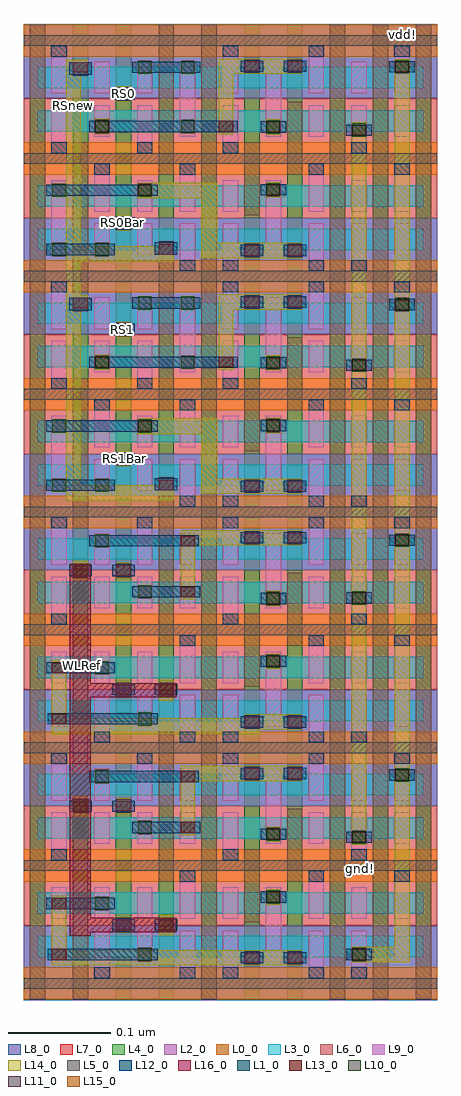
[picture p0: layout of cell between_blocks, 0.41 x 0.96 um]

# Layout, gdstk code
from math import pi, radians
import gdstk
lib = gdstk.Library(unit=1e-6, precision=5e-10)
def R(c, l, rs):  # rectangles x0, y0, x1, y1
    for r in rs: c.add(gdstk.rectangle(r[:2], r[2:], *l))
def A(c, l, x, y, w, h, nx, ny, dx, dy):  # array of equal rectangles
    R(c, l, [(x+i*dx, y+j*dy, x+i*dx+w, y+j*dy+h) for i in range(nx) for j in range(ny)])
L0_0 = (0, 0)
L1_0 = (1, 0)
L2_0 = (2, 0)
L3_0 = (3, 0)
L4_0 = (4, 0)
L5_0 = (5, 0)
L6_0 = (6, 0)
L7_0 = (7, 0)
L8_0 = (8, 0)
L9_0 = (9, 0)
L10_0 = (10, 0)
L11_0 = (11, 0)
L12_0 = (12, 0)
L13_0 = (13, 0)
L14_0 = (14, 0)
L15_0 = (15, 0)
L16_0 = (16, 0)

bpr_m0a = lib.new_cell('BPR_M0A')
R(bpr_m0a, L0_0, [(-0.021,-0.0055,0.021,0.026)])
R(bpr_m0a, L1_0, [(-0.0075,-0.0055,0.0075,0.005)])
R(bpr_m0a, L9_0, [(-0.0075,-0.0165,0.0075,0.005)])

nmos = lib.new_cell('nmos')
R(nmos, L3_0, [(-0.042,-0.0105,0.042,0.0105)])
A(nmos, L4_0, -0.0495, -0.032, 0.015, 0.064, 3, 1, 0.042, 0)
R(nmos, L7_0, [(-0.0555,-0.021,0.0555,0.0205)])
R(nmos, L9_0, [(-0.0285,-0.0155,-0.0135,0.0155), (0.0135,-0.0155,0.0285,0.0155)])

pmos = lib.new_cell('pmos')
R(pmos, L2_0, [(-0.042,-0.0205,0.042,0.0205)])
R(pmos, L3_0, [(-0.042,-0.0105,0.042,0.0105)])
A(pmos, L4_0, -0.0495, -0.032, 0.015, 0.064, 3, 1, 0.042, 0)
R(pmos, L8_0, [(-0.0555,-0.0205,0.0555,0.0205)])
R(pmos, L9_0, [(-0.0285,-0.0155,-0.0135,0.0155), (0.0135,-0.0155,0.0285,0.0155)])

m0b_m1 = lib.new_cell('M0B_M1')
R(m0b_m1, L12_0, [(-0.011,-0.005,0.011,0.005)])
R(m0b_m1, L13_0, [(-0.007,-0.005,0.007,0.005)])
R(m0b_m1, L14_0, [(-0.007,-0.0075,0.007,0.0075)])

m0a_m0b = lib.new_cell('M0A_M0B')
R(m0a_m0b, L9_0, [(-0.0075,-0.0055,0.0075,0.0055)])
R(m0a_m0b, L10_0, [(-0.0065,-0.0065,0.0065,0.0065)])
R(m0a_m0b, L12_0, [(-0.0125,-0.0055,0.0125,0.0055)])

gate_m0b = lib.new_cell('GATE_M0B')
R(gate_m0b, L4_0, [(-0.0075,-0.0115,0.0075,0.0115)])
R(gate_m0b, L11_0, [(-0.0075,-0.0065,0.0075,0.0065)])
R(gate_m0b, L12_0, [(-0.011,-0.0055,0.011,0.0055)])

nor = lib.new_cell('nor')
R(nor, L0_0, [(0.157,0.0005,0.352,0.032), (0.186,0.009,0.1965,0.016), (0.157,0.116,0.352,0.1475), (0.1885,0.1335,0.1945,0.1415)])
R(nor, L2_0, [(0.157,0.075,0.352,0.1475)])
A(nor, L4_0, 0.163, 0.0005, 0.015, 0.147, 5, 1, 0.042, 0)
R(nor, L5_0, [(0.157,0.011,0.352,0.0215), (0.157,0.1265,0.352,0.137)])
R(nor, L6_0, [(0.163,0.0005,0.178,0.1475), (0.289,0.0005,0.304,0.1475), (0.331,0.0005,0.346,0.1475)])
R(nor, L7_0, [(0.157,0.0005,0.352,0.075)])
R(nor, L8_0, [(0.157,0.075,0.352,0.148)])
R(nor, L9_0, [(0.31,0.0685,0.325,0.08)])
R(nor, L12_0, [(0.221,0.042,0.325,0.053), (0.263,0.1,0.33,0.111)])
R(nor, L14_0, [(0.2315,0.0455,0.2355,0.0495), (0.253,0.0775,0.2565,0.0805), (0.209,0.1035,0.2155,0.1085)])
nor.add(gdstk.Reference(bpr_m0a, (0.1915,0.1215)))
nor.add(gdstk.Reference(bpr_m0a, (0.2755,0.0265), rotation=pi))
nor.add(gdstk.Reference(bpr_m0a, (0.1915,0.0265), rotation=pi))
nor.add(gdstk.Reference(nmos, (0.2965,0.053)))
nor.add(gdstk.Reference(nmos, (0.2545,0.053)))
nor.add(gdstk.Reference(nmos, (0.2125,0.053)))
nor.add(gdstk.Reference(pmos, (0.2965,0.0955)))
nor.add(gdstk.Reference(pmos, (0.2545,0.0955)))
nor.add(gdstk.Reference(pmos, (0.2125,0.0955)))
nor.add(gdstk.Reference(m0b_m1, (0.2545,0.0795)))
nor.add(gdstk.Reference(m0b_m1, (0.2125,0.1055)))
nor.add(gdstk.Reference(m0b_m1, (0.2335,0.0475)))
nor.add(gdstk.Reference(m0a_m0b, (0.3175,0.0475)))
nor.add(gdstk.Reference(m0a_m0b, (0.3175,0.1055)))
nor.add(gdstk.Reference(m0a_m0b, (0.2755,0.1055)))
nor.add(gdstk.Reference(m0a_m0b, (0.2335,0.0475)))
nor.add(gdstk.Reference(gate_m0b, (0.2545,0.0795)))
nor.add(gdstk.Reference(gate_m0b, (0.2125,0.104)))
nor.add(gdstk.Label('Y', (0.2335,0.0475), layer=14, texttype=0))
nor.add(gdstk.Label('B', (0.2545,0.079), layer=14, texttype=0))
nor.add(gdstk.Label('A', (0.212,0.106), layer=14, texttype=0))
nor.add(gdstk.Label('gnd!', (0.191,0.0125), layer=0, texttype=0))
nor.add(gdstk.Label('vdd!', (0.1915,0.1375), layer=0, texttype=0))

inv = lib.new_cell('inv')
R(inv, L0_0, [(0,0,0.153,0.0315), (0.025,0.006,0.0415,0.016), (0,0.1155,0.153,0.147), (0.11,0.131,0.125,0.1425)])
R(inv, L2_0, [(0,0.0745,0.153,0.147)])
A(inv, L4_0, 0.006, 0, 0.015, 0.147, 4, 1, 0.042, 0)
R(inv, L5_0, [(0,0.0105,0.153,0.021), (0,0.126,0.153,0.1365)])
R(inv, L6_0, [(0.006,0,0.021,0.147), (0.09,0,0.105,0.0715), (0.132,0,0.147,0.147)])
R(inv, L7_0, [(0,0,0.153,0.0745)])
R(inv, L8_0, [(0,0.075,0.153,0.1475)])
R(inv, L9_0, [(0.069,0.068,0.084,0.0795)])
R(inv, L12_0, [(0.0915,0.103,0.1055,0.1095)])
R(inv, L14_0, [(0.071,0.0415,0.0815,0.051), (0.0485,0.0985,0.1045,0.1135)])
inv.add(gdstk.Reference(nmos, (0.0975,0.0525)))
inv.add(gdstk.Reference(nmos, (0.0555,0.0525)))
inv.add(gdstk.Reference(pmos, (0.0975,0.095)))
inv.add(gdstk.Reference(pmos, (0.0555,0.095)))
inv.add(gdstk.Reference(bpr_m0a, (0.0345,0.026), rotation=pi))
inv.add(gdstk.Reference(bpr_m0a, (0.0345,0.121)))
inv.add(gdstk.Reference(bpr_m0a, (0.1185,0.121)))
inv.add(gdstk.Reference(m0a_m0b, (0.0765,0.0465)))
inv.add(gdstk.Reference(gate_m0b, (0.0555,0.106)))
inv.add(gdstk.Reference(gate_m0b, (0.0975,0.106)))
inv.add(gdstk.Reference(m0b_m1, (0.0555,0.106)))
inv.add(gdstk.Reference(m0b_m1, (0.0765,0.0465)))
inv.add(gdstk.Reference(m0b_m1, (0.0975,0.106)))
inv.add(gdstk.Label('vdd!', (0.1175,0.1365), layer=0, texttype=0))
inv.add(gdstk.Label('gnd!', (0.033,0.011), layer=0, texttype=0))
inv.add(gdstk.Label('out', (0.075,0.0435), layer=14, texttype=0))
inv.add(gdstk.Label('in', (0.0985,0.1045), layer=14, texttype=0))

nand = lib.new_cell('nand')
R(nand, L0_0, [(0.1045,0.057,0.2155,0.0885), (0.1465,0.057,0.2995,0.0885), (0.133,0.0665,0.142,0.074), (0.1045,0.1725,0.2155,0.204), (0.1465,0.1725,0.2995,0.204), (0.137,0.192,0.143,0.198)])
R(nand, L2_0, [(0.1045,0.1315,0.2155,0.204), (0.1465,0.1315,0.2995,0.204)])
A(nand, L4_0, 0.1105, 0.057, 0.015, 0.147, 5, 1, 0.042, 0)
R(nand, L4_0, [(0.2785,0.057,0.2935,0.204)])
R(nand, L5_0, [(0.1045,0.0675,0.2995,0.078), (0.1045,0.183,0.2995,0.1935)])
R(nand, L6_0, [(0.1105,0.057,0.1255,0.204), (0.2365,0.057,0.2515,0.204), (0.2785,0.057,0.2935,0.204)])
R(nand, L7_0, [(0.1045,0.057,0.2155,0.1315), (0.1465,0.057,0.2995,0.1315)])
R(nand, L8_0, [(0.1045,0.132,0.2155,0.2045), (0.1465,0.133,0.2995,0.2045)])
R(nand, L12_0, [(0.2105,0.1045,0.2775,0.1155), (0.1685,0.1545,0.276,0.1655)])
R(nand, L14_0, [(0.258,0.1025,0.272,0.1675), (0.1575,0.129,0.162,0.134), (0.2,0.1295,0.204,0.133), (0.262,0.1575,0.2675,0.1625)])
nand.add(gdstk.Reference(nmos, (0.244,0.1095), rotation=pi, x_reflection=True))
nand.add(gdstk.Reference(nmos, (0.16,0.1095), rotation=pi, x_reflection=True))
nand.add(gdstk.Reference(pmos, (0.16,0.152), rotation=pi, x_reflection=True))
nand.add(gdstk.Reference(pmos, (0.202,0.152), rotation=pi, x_reflection=True))
nand.add(gdstk.Reference(pmos, (0.244,0.152), rotation=pi, x_reflection=True))
nand.add(gdstk.Reference(bpr_m0a, (0.139,0.178), rotation=pi, x_reflection=True))
nand.add(gdstk.Reference(bpr_m0a, (0.139,0.083), x_reflection=True))
nand.add(gdstk.Reference(bpr_m0a, (0.223,0.178), rotation=pi, x_reflection=True))
nand.add(gdstk.Reference(m0a_m0b, (0.181,0.16)))
nand.add(gdstk.Reference(m0a_m0b, (0.223,0.11)))
nand.add(gdstk.Reference(m0b_m1, (0.265,0.16)))
nand.add(gdstk.Reference(m0b_m1, (0.265,0.11)))
nand.add(gdstk.Reference(m0b_m1, (0.202,0.131)))
nand.add(gdstk.Reference(m0b_m1, (0.16,0.131)))
nand.add(gdstk.Reference(gate_m0b, (0.202,0.131)))
nand.add(gdstk.Reference(gate_m0b, (0.16,0.131)))
nand.add(gdstk.Label('Y', (0.2645,0.16), layer=14, texttype=0))
nand.add(gdstk.Label('A', (0.1595,0.1315), layer=14, texttype=0))
nand.add(gdstk.Label('B', (0.202,0.131), layer=14, texttype=0))
nand.add(gdstk.Label('gnd!', (0.1375,0.07), layer=0, texttype=0))
nand.add(gdstk.Label('vdd!', (0.14,0.195), layer=0, texttype=0))

m1_m2 = lib.new_cell('M1_M2')
R(m1_m2, L14_0, [(-0.007,-0.01,0.007,0.01)])
R(m1_m2, L15_0, [(-0.007,-0.007,0.007,0.007)])
R(m1_m2, L16_0, [(-0.01,-0.007,0.01,0.007)])

sram_filler = lib.new_cell('sram_filler')
R(sram_filler, L0_0, [(0.001,0,0.112,0.0315), (0.072,0.0115,0.084,0.0245), (0.001,0.1155,0.112,0.147), (0.072,0.121,0.0855,0.141)])
R(sram_filler, L2_0, [(0.001,0.0745,0.112,0.147)])
A(sram_filler, L4_0, 0.007, 0, 0.015, 0.147, 3, 1, 0.042, 0)
R(sram_filler, L5_0, [(0.001,0.0105,0.112,0.021), (0.001,0.126,0.112,0.1365)])
A(sram_filler, L6_0, 0.007, 0, 0.015, 0.147, 3, 1, 0.042, 0)
R(sram_filler, L7_0, [(0.001,0,0.112,0.0745)])
R(sram_filler, L8_0, [(0.001,0.075,0.112,0.1475)])
sram_filler.add(gdstk.Reference(nmos, (0.0565,0.0525)))
sram_filler.add(gdstk.Reference(pmos, (0.0565,0.095)))
sram_filler.add(gdstk.Reference(bpr_m0a, (0.0355,0.026), rotation=pi))
sram_filler.add(gdstk.Reference(bpr_m0a, (0.0775,0.121)))

between_blocks = lib.new_cell('between_blocks')
R(between_blocks, L0_0, [(0.402,-0.196,0.421,-0.1825), (0.4425,0.621,0.465,0.636)])
R(between_blocks, L12_0, [(0.233,0.302,0.2915,0.313), (0.233,0.533,0.2915,0.544)])
R(between_blocks, L14_0, [(0.1095,-0.2835,0.3305,-0.2685), (0.4035,-0.2805,0.46,-0.2655), (0.4455,-0.2805,0.46,0.6045), (0.4035,-0.1655,0.4175,0.5425), (0.2355,-0.1175,0.2495,-0.0885), (0.2355,-0.103,0.318,-0.088), (0.1095,-0.057,0.313,-0.0415), (0.2985,-0.057,0.313,-0.0375), (0.2355,0.1135,0.2495,0.1425), (0.2355,0.128,0.318,0.143), (0.1235,0.172,0.2285,0.187), (0.1235,0.172,0.1375,0.604), (0.214,0.1725,0.229,0.195), (0.256,0.1785,0.2715,0.2525), (0.256,0.1785,0.3175,0.1935), (0.173,0.21,0.188,0.2175), (0.1935,0.237,0.2715,0.2525), (0.273,0.3,0.287,0.374), (0.173,0.3365,0.1845,0.344), (0.273,0.359,0.3185,0.374), (0.1235,0.406,0.2285,0.421), (0.214,0.4065,0.229,0.426), (0.256,0.4095,0.2715,0.4835), (0.256,0.4095,0.3175,0.4245), (0.1735,0.4415,0.1835,0.4475), (0.1935,0.468,0.2715,0.4835), (0.273,0.531,0.287,0.605), (0.1255,0.554,0.136,0.565), (0.173,0.5665,0.186,0.576), (0.273,0.59,0.3185,0.605)])
R(between_blocks, L16_0, [(0.127,-0.2545,0.1475,0.11), (0.127,-0.251,0.2315,-0.237), (0.13,-0.021,0.2315,-0.007), (0.132,0,0.145,0.0215)])
between_blocks.add(gdstk.Reference(nor, (0.434,0.2925), rotation=pi))
between_blocks.add(gdstk.Reference(nor, (-0.075,0.26)))
between_blocks.add(gdstk.Reference(nor, (0.434,0.5235), rotation=pi))
between_blocks.add(gdstk.Reference(nor, (-0.075,0.491)))
between_blocks.add(gdstk.Reference(inv, (0.403,-0.17), rotation=pi))
between_blocks.add(gdstk.Reference(inv, (0.25,-0.2015)))
between_blocks.add(gdstk.Reference(inv, (0.403,0.061), rotation=pi))
between_blocks.add(gdstk.Reference(inv, (0.25,0.0295)))
between_blocks.add(gdstk.Reference(inv, (0.403,0.292), rotation=pi))
between_blocks.add(gdstk.Reference(inv, (0.25,0.2605)))
between_blocks.add(gdstk.Reference(inv, (0.403,0.523), rotation=pi))
between_blocks.add(gdstk.Reference(inv, (0.25,0.4915)))
between_blocks.add(gdstk.Reference(nand, (0.3815,-0.113), rotation=pi))
between_blocks.add(gdstk.Reference(nand, (-0.0225,-0.2585)))
between_blocks.add(gdstk.Reference(nand, (0.3815,0.118), rotation=pi))
between_blocks.add(gdstk.Reference(nand, (-0.0225,-0.0275)))
between_blocks.add(gdstk.Reference(m0b_m1, (0.4105,-0.273)))
between_blocks.add(gdstk.Reference(m0b_m1, (0.4105,-0.158)))
between_blocks.add(gdstk.Reference(m0b_m1, (0.4105,0.0765)))
between_blocks.add(gdstk.Reference(m0b_m1, (0.4105,0.3045)))
between_blocks.add(gdstk.Reference(m0b_m1, (0.4105,0.535)))
between_blocks.add(gdstk.Reference(m0b_m1, (0.4525,-0.097)))
between_blocks.add(gdstk.Reference(m0b_m1, (0.4525,0.133)))
between_blocks.add(gdstk.Reference(m0b_m1, (0.4525,0.364)))
between_blocks.add(gdstk.Reference(m0b_m1, (0.4525,0.597)))
between_blocks.add(gdstk.Reference(m0b_m1, (0.28,0.3075)))
between_blocks.add(gdstk.Reference(m0b_m1, (0.28,0.5385)))
between_blocks.add(gdstk.Reference(m1_m2, (0.2215,-0.244)))
between_blocks.add(gdstk.Reference(m1_m2, (0.1375,-0.1275)))
between_blocks.add(gdstk.Reference(m1_m2, (0.2215,-0.014)))
between_blocks.add(gdstk.Reference(m1_m2, (0.1375,0.103)))
between_blocks.add(gdstk.Reference(sram_filler, (0.488,-0.17), rotation=pi))
between_blocks.add(gdstk.Reference(sram_filler, (0.375,-0.2015)))
between_blocks.add(gdstk.Reference(sram_filler, (0.488,0.061), rotation=pi))
between_blocks.add(gdstk.Reference(sram_filler, (0.375,0.0295)))
between_blocks.add(gdstk.Reference(sram_filler, (0.488,0.292), rotation=pi))
between_blocks.add(gdstk.Reference(sram_filler, (0.375,0.2605)))
between_blocks.add(gdstk.Reference(sram_filler, (0.488,0.523), rotation=pi))
between_blocks.add(gdstk.Reference(sram_filler, (0.375,0.4915)))
between_blocks.add(gdstk.Reference(m0a_m0b, (0.4105,-0.273)))
between_blocks.add(gdstk.Reference(m0a_m0b, (0.4105,-0.158)))
between_blocks.add(gdstk.Reference(m0a_m0b, (0.4105,0.0765)))
between_blocks.add(gdstk.Reference(m0a_m0b, (0.4105,0.3045)))
between_blocks.add(gdstk.Reference(m0a_m0b, (0.4105,0.535)))
between_blocks.add(gdstk.Reference(m0a_m0b, (0.4525,-0.097)))
between_blocks.add(gdstk.Reference(m0a_m0b, (0.4525,0.133)))
between_blocks.add(gdstk.Reference(m0a_m0b, (0.4525,0.364)))
between_blocks.add(gdstk.Reference(m0a_m0b, (0.4525,0.597)))
between_blocks.add(gdstk.Label('RS1Bar', (0.1805,0.2135), layer=14, texttype=0))
between_blocks.add(gdstk.Label('RS1', (0.1785,0.34), layer=14, texttype=0))
between_blocks.add(gdstk.Label('RS0Bar', (0.1785,0.4445), layer=14, texttype=0))
between_blocks.add(gdstk.Label('RS0', (0.1795,0.571), layer=14, texttype=0))
between_blocks.add(gdstk.Label('RSnew', (0.1305,0.5595), layer=14, texttype=0))
between_blocks.add(gdstk.Label('gnd!', (0.4115,-0.189), layer=0, texttype=0))
between_blocks.add(gdstk.Label('vdd!', (0.4535,0.6285), layer=0, texttype=0))
between_blocks.add(gdstk.Label('WLRef', (0.1385,0.0105), layer=16, texttype=0))

lib.write_gds('between_blocks.gds')
